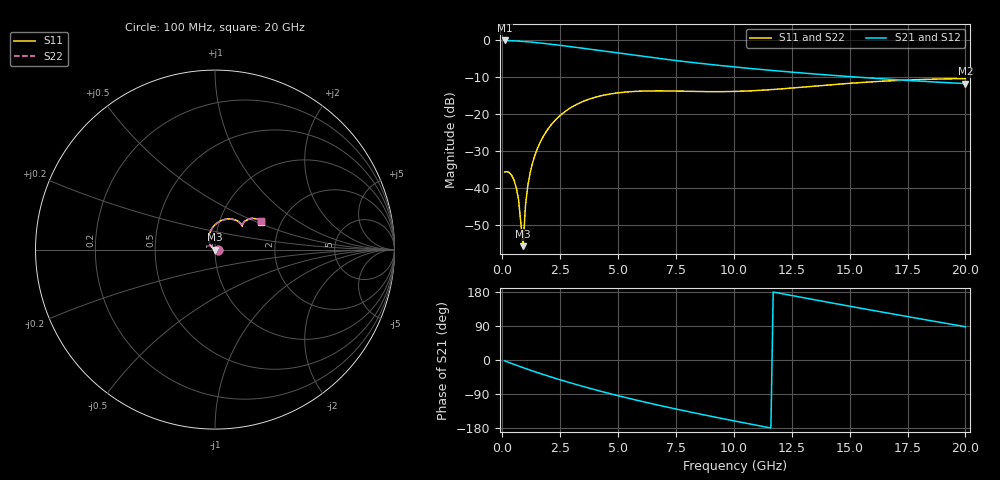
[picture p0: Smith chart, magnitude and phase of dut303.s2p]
! Touchstone file exported from HFSS 2024.1.0
!  File:  C:/UserFiles/LocalFiles/RDL_TSV_Batchsim/temp_RDL_TSV_303_1779625113.aedt
!  Generated:  08:37:55 PM May 24, 2026
!  Design:  RDL_TSV
!  Project:  temp_RDL_TSV_303_1779625113
!  Setup:  Setup1
!  Solution:  Sweep
! Variables:
!  dtsv = 9.93um
!  hbump = 3um
!  htsv = 82.28um
!  ldown = 627.42um
!  lrdl = 550.03um
!  p = 40
!  p1 = 50.55um
!  rhole = 10um
!  subl = 4082.38um
!  t = 450um
!  tdown = 2.7um
!  trdl = 4.37um
!  viad = 10um
!  wdown = 28.28um
!  wrdl = 26.46um
!  xbump = 18um
# GHz S MA R 50.000000
! Terminal data exported
! Port[1] = TM1_1_T1
! Port[2] = TM1_4_T1
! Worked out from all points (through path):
!   200 points, 100 MHz to 20 GHz, reference 50 ohm
!   highest |S21| = -0.15 dB at 100 MHz (marker M1); lowest = -11.8 dB at 20 GHz (marker M2)
!   group delay of S21, straight-line fit = 35.9 ps
!   lowest |S11| = -55.8 dB at 900 MHz (marker M3), VSWR 1.00, Z = 49.9 - j0.0746 ohm
!   |S11| at or under -10 dB: start of sweep to end of sweep
!   |S22| runs from -56.0 to -10.4 dB; largest |S21 - S12| = 1.1e-14
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0.1  0.01636 0.5  0.983 -2.4  0.983 -2.4  0.01636 0.5
! Gamma 0 0 0 0
! Port Impedance 50 0 50 0
0.3  0.01611 -4.9  0.9782 -7.0  0.9782 -7.0  0.01612 -4.9
0.4  0.01485 -9.5  0.9752 -9.2  0.9752 -9.2  0.01487 -9.5
0.6  0.01021 -20.1  0.968 -13.7  0.968 -13.7  0.01026 -20.2
0.7  0.007018 -27.5  0.9638 -15.9  0.9638 -15.9  0.00709 -27.5
0.9  0.001628 -152.7  0.9542 -20.3  0.9542 -20.3  0.001577 -149.0
1  0.005725 164.7  0.9488 -22.4  0.9488 -22.4  0.005595 165.2
1.1  0.01059 155.2  0.9431 -24.5  0.9431 -24.5  0.01042 155.4
1.2  0.0158 149.4  0.9371 -26.7  0.9371 -26.7  0.01561 149.6
1.3  0.02129 144.9  0.9308 -28.7  0.9308 -28.7  0.02107 145.0
1.5  0.03294 137.2  0.9176 -32.9  0.9176 -32.9  0.03265 137.3
1.9  0.05778 124.3  0.8894 -40.8  0.8894 -40.8  0.05735 124.3
2.3  0.08299 113.0  0.8598 -48.5  0.8598 -48.5  0.08241 113.0
2.8  0.1127 100.6  0.8221 -57.8  0.8221 -57.8  0.1119 100.7
3.5  0.1478 85.9  0.7696 -70.0  0.7696 -70.0  0.1468 85.9
5.1  0.1942 61.3  0.658 -95.7  0.658 -95.7  0.1927 61.4
6.8  0.2046 46.5  0.5597 -120.0  0.5597 -120.0  0.2029 46.6
8.3  0.201 41.1  0.4916 -139.6  0.4916 -139.6  0.1992 41.4
10.1  0.2014 41.1  0.4286 -161.8  0.4286 -161.8  0.2 41.5
13.4  0.2359 43.1  0.348 159.9  0.348 159.9  0.2354 43.5
16.7  0.2795 38.2  0.2938 123.2  0.2938 123.2  0.2798 38.6
20  0.3002 31.3  0.2565 87.8  0.2565 87.8  0.3009 31.5
